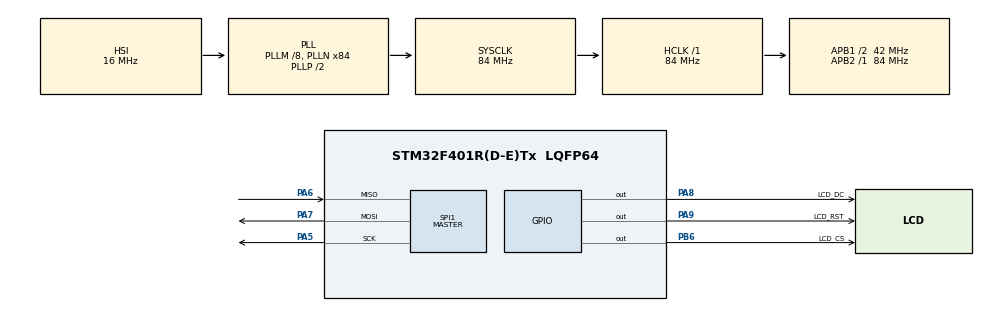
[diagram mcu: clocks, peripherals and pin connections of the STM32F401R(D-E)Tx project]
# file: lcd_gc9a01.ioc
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Dma.Request0=SPI1_RX
Dma.Request1=SPI1_TX
Dma.SPI1_RX.0.Direction=DMA_PERIPH_TO_MEMORY
Dma.SPI1_RX.0.FIFOMode=DMA_FIFOMODE_DISABLE
Dma.SPI1_RX.0.Instance=DMA2_Stream0
Dma.SPI1_RX.0.MemDataAlignment=DMA_MDATAALIGN_BYTE
Dma.SPI1_RX.0.MemInc=DMA_MINC_ENABLE
Dma.SPI1_RX.0.Mode=DMA_NORMAL
Dma.SPI1_RX.0.PeriphDataAlignment=DMA_PDATAALIGN_BYTE
Dma.SPI1_RX.0.PeriphInc=DMA_PINC_DISABLE
Dma.SPI1_RX.0.Priority=DMA_PRIORITY_LOW
Dma.SPI1_TX.1.Direction=DMA_MEMORY_TO_PERIPH
Dma.SPI1_TX.1.FIFOMode=DMA_FIFOMODE_DISABLE
Dma.SPI1_TX.1.Instance=DMA2_Stream3
Dma.SPI1_TX.1.MemDataAlignment=DMA_MDATAALIGN_BYTE
Dma.SPI1_TX.1.MemInc=DMA_MINC_ENABLE
Dma.SPI1_TX.1.Mode=DMA_NORMAL
Dma.SPI1_TX.1.PeriphDataAlignment=DMA_PDATAALIGN_BYTE
Dma.SPI1_TX.1.PeriphInc=DMA_PINC_DISABLE
Dma.SPI1_TX.1.Priority=DMA_PRIORITY_LOW
Mcu.Family=STM32F4
Mcu.Name=STM32F401R(D-E)Tx
Mcu.Package=LQFP64
NVIC.DMA2_Stream0_IRQn=true\:0\:0\:false\:false\:true\:false\:true\:true
NVIC.DMA2_Stream3_IRQn=true\:0\:0\:false\:false\:true\:false\:true\:true
NVIC.PriorityGroup=NVIC_PRIORITYGROUP_4
PA5.Mode=Full_Duplex_Master
PA5.Signal=SPI1_SCK
PA6.Mode=Full_Duplex_Master
PA6.Signal=SPI1_MISO
PA7.Mode=Full_Duplex_Master
PA7.Signal=SPI1_MOSI
PA8.GPIO_Label=LCD_DC
PA8.GPIO_Speed=GPIO_SPEED_FREQ_VERY_HIGH
PA8.Signal=GPIO_Output
PA9.GPIO_Label=LCD_RST
PA9.GPIO_Speed=GPIO_SPEED_FREQ_VERY_HIGH
PA9.Signal=GPIO_Output
PB6.GPIO_Label=LCD_CS
PB6.GPIO_Speed=GPIO_SPEED_FREQ_VERY_HIGH
PB6.Signal=GPIO_Output
ProjectManager.HeapSize=0x200
ProjectManager.StackSize=0x400
ProjectManager.TargetToolchain=STM32CubeIDE
RCC.48MHZClocksFreq_Value=42000000
RCC.AHBFreq_Value=84000000
RCC.APB1CLKDivider=RCC_HCLK_DIV2
RCC.APB1Freq_Value=42000000
RCC.APB1TimFreq_Value=84000000
RCC.APB2Freq_Value=84000000
RCC.APB2TimFreq_Value=84000000
RCC.CortexFreq_Value=84000000
RCC.HCLKFreq_Value=84000000
RCC.HSE_VALUE=25000000
RCC.HSI_VALUE=16000000
RCC.PLLM=8
RCC.PLLN=84
RCC.SYSCLKFreq_VALUE=84000000
RCC.SYSCLKSource=RCC_SYSCLKSOURCE_PLLCLK
RCC.VCOOutputFreq_Value=168000000
RTC.Hours=12
RTC.Minutes=15
SPI1.Direction=SPI_DIRECTION_2LINES
SPI1.Mode=SPI_MODE_MASTER
SPI1.VirtualType=VM_MASTER
VP_RTC_VS_RTC_Activate.Mode=RTC_Enabled
VP_RTC_VS_RTC_Calendar.Mode=RTC_Calendar
board=custom

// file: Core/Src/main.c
/* USER CODE BEGIN Header */
/**
  ******************************************************************************
  * @file           : main.c
  * @brief          : Main program body
  ******************************************************************************
  * @attention
  *
  * Copyright (c) 2024 STMicroelectronics.
  * All rights reserved.
  *
  * This software is licensed under terms that can be found in the LICENSE file
  * in the root directory of this software component.
  * If no LICENSE file comes with this software, it is provided AS-IS.
  *
  ******************************************************************************
  */
/* USER CODE END Header */
#include "main.h"

/* USER CODE BEGIN Includes */
#include "GC9A01.h"

#include "bitmap.h"
#include "fonts.h"

#include "stdio.h"

uint8_t hh,mm,ss;

#define PI 	3.14159265
#define xC	120
#define yC	120
/* USER CODE END Includes */

RTC_HandleTypeDef hrtc;

SPI_HandleTypeDef hspi1;
DMA_HandleTypeDef hdma_spi1_rx;
DMA_HandleTypeDef hdma_spi1_tx;

void SystemClock_Config(void);
static void MX_GPIO_Init(void);
static void MX_DMA_Init(void);
static void MX_RTC_Init(void);
static void MX_SPI1_Init(void);

/* USER CODE BEGIN 0 */
static void DrawArrow(int16_t angle, uint8_t lineLen, uint8_t thick, uint16_t color) {

	angle -= 90;
	float angleRad = (float) angle * PI / 180;
	int x = cos(angleRad) * lineLen + xC;
	int y = sin(angleRad) * lineLen + yC;

	GC9A01_DrawLineThick(xC, yC, x, y, color, thick);
}

void DrawClock(uint8_t hour, uint8_t min, uint8_t sec, uint8_t light, uint8_t secBubbles) {

	uint16_t bgColor, riskColor, digitColor, arrowColor, secArcColor;

	if (light) {
		bgColor = GC9A01_WHITE;
		riskColor = digitColor = arrowColor = GC9A01_BLACK;
		secArcColor = GC9A01_MAGENTA;
	} else {
		bgColor = GC9A01_BLACK;
		riskColor = digitColor = arrowColor = GC9A01_WHITE;
		secArcColor = GC9A01_GREEN;
	}

//	GC9A01_FillScreen(bgColor);   //NO DMA
	ClearScreen2(GC9A01_BLACK);   //DMA

	uint8_t radius1 = 119;
	for (uint16_t angle = 0; angle <= 360; angle += 6) {
		uint8_t riskSize;
		if (!(angle % 90))
			riskSize = 13;
		else if (!(angle % 30))
			riskSize = 10;
		else
			riskSize = 6;

		uint8_t radius2 = radius1 - riskSize;
		float angleRad = (float) angle * PI / 180;
		int x1 = cos(angleRad) * radius1 + xC;
		int y1 = sin(angleRad) * radius1 + yC;
		int x2 = cos(angleRad) * radius2 + xC;
		int y2 = sin(angleRad) * radius2 + yC;

		GC9A01_DrawLine(x1, y1, x2, y2, riskColor);
	}

	GC9A01_print( 165, 30, digitColor , RGB565(0, 10, 100) , 0, &Font_11x18, 1, "1" );
	GC9A01_print( 200, 63, digitColor , RGB565(0, 10, 100) , 0, &Font_11x18, 1, "2" );
	GC9A01_print( 207, 110, digitColor , RGB565(0, 10, 100) , 0, &Font_16x26, 1, "3" );
	GC9A01_print( 200, 160, digitColor , RGB565(0, 10, 100) , 0, &Font_11x18, 1, "4" );
	GC9A01_print( 165, 193, digitColor , RGB565(0, 10, 100) , 0, &Font_11x18, 1, "5" );
	GC9A01_print( 110, 200, digitColor , RGB565(0, 10, 100) , 0, &Font_16x26, 1, "6" );
	GC9A01_print( 65, 193, digitColor , RGB565(0, 10, 100) , 0, &Font_11x18, 1, "7" );
	GC9A01_print( 32, 160, digitColor , RGB565(0, 10, 100) , 0, &Font_11x18, 1, "8" );
	GC9A01_print( 19, 110, digitColor , RGB565(0, 10, 100) , 0, &Font_16x26, 1, "9" );
	GC9A01_print( 32, 63, digitColor , RGB565(0, 10, 100) , 0, &Font_11x18, 1, "10" );
	GC9A01_print( 65, 30, digitColor , RGB565(0, 10, 100) , 0, &Font_11x18, 1, "11" );
	GC9A01_print( 106, 20, digitColor , RGB565(0, 10, 100) , 0, &Font_16x26, 1, "12" );

	DrawArrow(min * 6 + sec / 10, 80, 2, arrowColor);

	DrawArrow(hour * 30 + min / 2, 50, 4, arrowColor);

	if (!sec)
		sec = 60;
	if (secBubbles) {
		int16_t startAngle = -90;
		int16_t endAngle = sec * 6 - 90;

		for (int16_t angle = startAngle; angle <= endAngle; angle += 6) {
			float angleRad = (float) angle * PI / 180;
			int x = cos(angleRad) * 119 + xC;
			int y = sin(angleRad) * 119 + yC;

			if (angle == endAngle)
				GC9A01_DrawCircleFilled(x, y, 4, secArcColor);
			else
				GC9A01_DrawCircleFilled(x, y, 2, secArcColor);
		}
	} else
		GC9A01_DrawArc(xC, yC, 119, 0, sec * 6, secArcColor, 2);

	HAL_Delay(50);
}

/* USER CODE END 0 */

int main(void)
{

  /* MCU Configuration--------------------------------------------------------*/

  /* Reset of all peripherals, Initializes the Flash interface and the Systick. */
  HAL_Init();

  /* Configure the system clock */
  SystemClock_Config();

  /* Initialize all configured peripherals */
  MX_GPIO_Init();
  MX_DMA_Init();
  MX_RTC_Init();
  MX_SPI1_Init();
  /* USER CODE BEGIN 2 */
  GC9A01_Init();
  GC9A01_rotation(3,0,0);
  HAL_Delay (1000);
  	for( uint8_t i = 0; i< GC9A01_Width; i+=3){
  		GC9A01_DrawRectangleFilled(i, i, GC9A01_Width-i, GC9A01_Height-i, RGB565(i/2, 255-i, 0+i)) ;
  	}

  	for( uint8_t i = 0; i< GC9A01_Width/2; i+=3){
  		GC9A01_DrawRectangle(i, i, GC9A01_Width-i, GC9A01_Height-i, RGB565(255, 0, 0)) ;
  	}
  	HAL_Delay (1000);
  	GC9A01_Clear();

  	GC9A01_DrawCircle(120-1, 120-1, 115, RGB565(255, 0, 255));

    GC9A01_print( 90, 80, RGB565(0, 255, 0) , RGB565(0, 10, 100) , 1, &Font_16x26, 2, "Hi" );
    GC9A01_print( 70, 140, RGB565(0, 255, 0) , RGB565(0, 10, 100) , 1, &Font_16x26, 1, "There!" );

  	HAL_Delay (1000);
  /* USER CODE END 2 */

  /* Infinite loop */
  while (1)
  {
	  RTC_DateTypeDef gDate;
	  		RTC_TimeTypeDef gTime;

	  		  HAL_RTC_GetTime(&hrtc, &gTime, RTC_FORMAT_BIN);
	  		  /* Get the RTC current Date */
	  		  HAL_RTC_GetDate(&hrtc, &gDate, RTC_FORMAT_BIN);

	  		    ss=gTime.Seconds;
	  		    mm=gTime.Minutes;
	  		    hh=gTime.Hours;

	  //		for( uint8_t i = 0; i < 60; i++ ){
	  			DrawClock(hh, mm, ss, 0, 0);
	  			HAL_Delay( 1000 );
	  //		}
  }
}

void SystemClock_Config(void)
{
  RCC_OscInitTypeDef RCC_OscInitStruct = {0};
  RCC_ClkInitTypeDef RCC_ClkInitStruct = {0};

  /** Configure the main internal regulator output voltage
  */
  __HAL_RCC_PWR_CLK_ENABLE();
  __HAL_PWR_VOLTAGESCALING_CONFIG(PWR_REGULATOR_VOLTAGE_SCALE2);

  /** Initializes the RCC Oscillators according to the specified parameters
  * in the RCC_OscInitTypeDef structure.
  */
  RCC_OscInitStruct.OscillatorType = RCC_OSCILLATORTYPE_HSI|RCC_OSCILLATORTYPE_LSI;
  RCC_OscInitStruct.HSIState = RCC_HSI_ON;
  RCC_OscInitStruct.HSICalibrationValue = RCC_HSICALIBRATION_DEFAULT;
  RCC_OscInitStruct.LSIState = RCC_LSI_ON;
  RCC_OscInitStruct.PLL.PLLState = RCC_PLL_ON;
  RCC_OscInitStruct.PLL.PLLSource = RCC_PLLSOURCE_HSI;
  RCC_OscInitStruct.PLL.PLLM = 8;
  RCC_OscInitStruct.PLL.PLLN = 84;
  RCC_OscInitStruct.PLL.PLLP = RCC_PLLP_DIV2;
  RCC_OscInitStruct.PLL.PLLQ = 4;
  if (HAL_RCC_OscConfig(&RCC_OscInitStruct) != HAL_OK)
  {
    Error_Handler();
  }

  /** Initializes the CPU, AHB and APB buses clocks
  */
  RCC_ClkInitStruct.ClockType = RCC_CLOCKTYPE_HCLK|RCC_CLOCKTYPE_SYSCLK
                              |RCC_CLOCKTYPE_PCLK1|RCC_CLOCKTYPE_PCLK2;
  RCC_ClkInitStruct.SYSCLKSource = RCC_SYSCLKSOURCE_PLLCLK;
  RCC_ClkInitStruct.AHBCLKDivider = RCC_SYSCLK_DIV1;
  RCC_ClkInitStruct.APB1CLKDivider = RCC_HCLK_DIV2;
  RCC_ClkInitStruct.APB2CLKDivider = RCC_HCLK_DIV1;

  if (HAL_RCC_ClockConfig(&RCC_ClkInitStruct, FLASH_LATENCY_2) != HAL_OK)
  {
    Error_Handler();
  }
}

static void MX_RTC_Init(void)
{

  RTC_TimeTypeDef sTime = {0};
  RTC_DateTypeDef sDate = {0};

  /** Initialize RTC Only
  */
  hrtc.Instance = RTC;
  hrtc.Init.HourFormat = RTC_HOURFORMAT_24;
  hrtc.Init.AsynchPrediv = 127;
  hrtc.Init.SynchPrediv = 255;
  hrtc.Init.OutPut = RTC_OUTPUT_DISABLE;
  hrtc.Init.OutPutPolarity = RTC_OUTPUT_POLARITY_HIGH;
  hrtc.Init.OutPutType = RTC_OUTPUT_TYPE_OPENDRAIN;
  if (HAL_RTC_Init(&hrtc) != HAL_OK)
  {
    Error_Handler();
  }

  /** Initialize RTC and set the Time and Date
  */
  sTime.Hours = 0x12;
  sTime.Minutes = 0x15;
  sTime.Seconds = 0x0;
  sTime.DayLightSaving = RTC_DAYLIGHTSAVING_NONE;
  sTime.StoreOperation = RTC_STOREOPERATION_RESET;
  if (HAL_RTC_SetTime(&hrtc, &sTime, RTC_FORMAT_BCD) != HAL_OK)
  {
    Error_Handler();
  }
  sDate.WeekDay = RTC_WEEKDAY_MONDAY;
  sDate.Month = RTC_MONTH_JANUARY;
  sDate.Date = 0x1;
  sDate.Year = 0x0;

  if (HAL_RTC_SetDate(&hrtc, &sDate, RTC_FORMAT_BCD) != HAL_OK)
  {
    Error_Handler();
  }

}

static void MX_SPI1_Init(void)
{

  /* SPI1 parameter configuration*/
  hspi1.Instance = SPI1;
  hspi1.Init.Mode = SPI_MODE_MASTER;
  hspi1.Init.Direction = SPI_DIRECTION_2LINES;
  hspi1.Init.DataSize = SPI_DATASIZE_8BIT;
  hspi1.Init.CLKPolarity = SPI_POLARITY_LOW;
  hspi1.Init.CLKPhase = SPI_PHASE_1EDGE;
  hspi1.Init.NSS = SPI_NSS_SOFT;
  hspi1.Init.BaudRatePrescaler = SPI_BAUDRATEPRESCALER_2;
  hspi1.Init.FirstBit = SPI_FIRSTBIT_MSB;
  hspi1.Init.TIMode = SPI_TIMODE_DISABLE;
  hspi1.Init.CRCCalculation = SPI_CRCCALCULATION_DISABLE;
  hspi1.Init.CRCPolynomial = 10;
  if (HAL_SPI_Init(&hspi1) != HAL_OK)
  {
    Error_Handler();
  }

}

static void MX_DMA_Init(void)
{

  /* DMA controller clock enable */
  __HAL_RCC_DMA2_CLK_ENABLE();

  /* DMA interrupt init */
  /* DMA2_Stream0_IRQn interrupt configuration */
  HAL_NVIC_SetPriority(DMA2_Stream0_IRQn, 0, 0);
  HAL_NVIC_EnableIRQ(DMA2_Stream0_IRQn);
  /* DMA2_Stream3_IRQn interrupt configuration */
  HAL_NVIC_SetPriority(DMA2_Stream3_IRQn, 0, 0);
  HAL_NVIC_EnableIRQ(DMA2_Stream3_IRQn);

}

static void MX_GPIO_Init(void)
{
  GPIO_InitTypeDef GPIO_InitStruct = {0};

  /* GPIO Ports Clock Enable */
  __HAL_RCC_GPIOA_CLK_ENABLE();
  __HAL_RCC_GPIOB_CLK_ENABLE();

  /*Configure GPIO pin Output Level */
  HAL_GPIO_WritePin(GPIOA, LCD_DC_Pin|LCD_RST_Pin, GPIO_PIN_RESET);

  /*Configure GPIO pin Output Level */
  HAL_GPIO_WritePin(LCD_CS_GPIO_Port, LCD_CS_Pin, GPIO_PIN_RESET);

  /*Configure GPIO pins : LCD_DC_Pin LCD_RST_Pin */
  GPIO_InitStruct.Pin = LCD_DC_Pin|LCD_RST_Pin;
  GPIO_InitStruct.Mode = GPIO_MODE_OUTPUT_PP;
  GPIO_InitStruct.Pull = GPIO_NOPULL;
  GPIO_InitStruct.Speed = GPIO_SPEED_FREQ_VERY_HIGH;
  HAL_GPIO_Init(GPIOA, &GPIO_InitStruct);

  /*Configure GPIO pin : LCD_CS_Pin */
  GPIO_InitStruct.Pin = LCD_CS_Pin;
  GPIO_InitStruct.Mode = GPIO_MODE_OUTPUT_PP;
  GPIO_InitStruct.Pull = GPIO_NOPULL;
  GPIO_InitStruct.Speed = GPIO_SPEED_FREQ_VERY_HIGH;
  HAL_GPIO_Init(LCD_CS_GPIO_Port, &GPIO_InitStruct);

}

void Error_Handler(void)
{
  __disable_irq();
  while (1)
  {
  }
}
